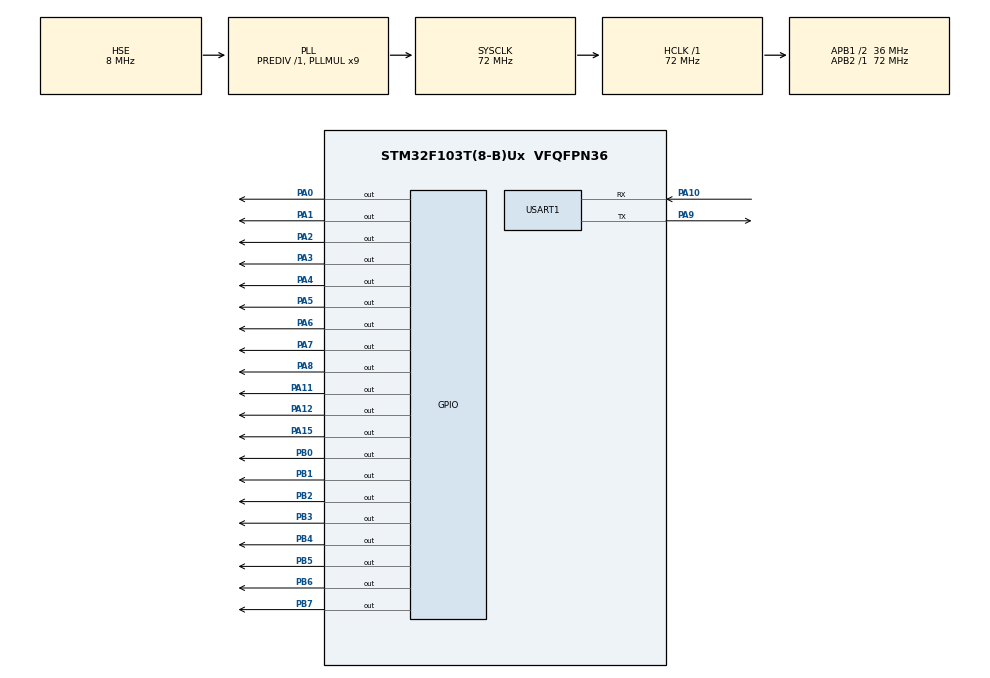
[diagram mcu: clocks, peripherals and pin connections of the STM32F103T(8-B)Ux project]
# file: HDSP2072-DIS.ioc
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Dma.Request0=USART1_RX
Dma.Request1=USART1_TX
Dma.USART1_RX.0.Direction=DMA_PERIPH_TO_MEMORY
Dma.USART1_RX.0.Instance=DMA1_Channel5
Dma.USART1_RX.0.MemDataAlignment=DMA_MDATAALIGN_BYTE
Dma.USART1_RX.0.MemInc=DMA_MINC_ENABLE
Dma.USART1_RX.0.Mode=DMA_NORMAL
Dma.USART1_RX.0.PeriphDataAlignment=DMA_PDATAALIGN_BYTE
Dma.USART1_RX.0.PeriphInc=DMA_PINC_DISABLE
Dma.USART1_RX.0.Priority=DMA_PRIORITY_LOW
Dma.USART1_TX.1.Direction=DMA_MEMORY_TO_PERIPH
Dma.USART1_TX.1.Instance=DMA1_Channel4
Dma.USART1_TX.1.MemDataAlignment=DMA_MDATAALIGN_BYTE
Dma.USART1_TX.1.MemInc=DMA_MINC_ENABLE
Dma.USART1_TX.1.Mode=DMA_NORMAL
Dma.USART1_TX.1.PeriphDataAlignment=DMA_PDATAALIGN_BYTE
Dma.USART1_TX.1.PeriphInc=DMA_PINC_DISABLE
Dma.USART1_TX.1.Priority=DMA_PRIORITY_LOW
Mcu.Family=STM32F1
Mcu.Name=STM32F103T(8-B)Ux
Mcu.Package=VFQFPN36
NVIC.DMA1_Channel4_IRQn=true\:0\:0\:false\:false\:true\:false\:true
NVIC.DMA1_Channel5_IRQn=true\:0\:0\:false\:false\:true\:false\:true
NVIC.PriorityGroup=NVIC_PRIORITYGROUP_4
NVIC.USART1_IRQn=true\:0\:0\:false\:false\:true\:true\:true
PA0-WKUP.GPIO_ModeDefaultOutputPP=GPIO_MODE_OUTPUT_PP
PA0-WKUP.GPIO_PuPd=GPIO_PULLUP
PA0-WKUP.GPIO_Speed=GPIO_SPEED_FREQ_MEDIUM
PA0-WKUP.PinState=GPIO_PIN_RESET
PA0-WKUP.Signal=GPIO_Output
PA1.GPIO_ModeDefaultOutputPP=GPIO_MODE_OUTPUT_PP
PA1.GPIO_PuPd=GPIO_PULLUP
PA1.GPIO_Speed=GPIO_SPEED_FREQ_MEDIUM
PA1.PinState=GPIO_PIN_RESET
PA1.Signal=GPIO_Output
PA10.Mode=Asynchronous
PA10.Signal=USART1_RX
PA11.GPIO_ModeDefaultOutputPP=GPIO_MODE_OUTPUT_PP
PA11.GPIO_PuPd=GPIO_PULLUP
PA11.GPIO_Speed=GPIO_SPEED_FREQ_MEDIUM
PA11.PinState=GPIO_PIN_RESET
PA11.Signal=GPIO_Output
PA12.GPIO_ModeDefaultOutputPP=GPIO_MODE_OUTPUT_PP
PA12.GPIO_PuPd=GPIO_PULLUP
PA12.GPIO_Speed=GPIO_SPEED_FREQ_MEDIUM
PA12.PinState=GPIO_PIN_RESET
PA12.Signal=GPIO_Output
PA13.Mode=Serial_Wire
PA13.Signal=SYS_JTMS-SWDIO
PA14.Mode=Serial_Wire
PA14.Signal=SYS_JTCK-SWCLK
PA15.GPIO_ModeDefaultOutputPP=GPIO_MODE_OUTPUT_PP
PA15.GPIO_PuPd=GPIO_PULLUP
PA15.GPIO_Speed=GPIO_SPEED_FREQ_MEDIUM
PA15.PinState=GPIO_PIN_RESET
PA15.Signal=GPIO_Output
PA2.GPIO_ModeDefaultOutputPP=GPIO_MODE_OUTPUT_PP
PA2.GPIO_PuPd=GPIO_PULLUP
PA2.GPIO_Speed=GPIO_SPEED_FREQ_MEDIUM
PA2.PinState=GPIO_PIN_RESET
PA2.Signal=GPIO_Output
PA3.GPIO_ModeDefaultOutputPP=GPIO_MODE_OUTPUT_PP
PA3.GPIO_PuPd=GPIO_PULLUP
PA3.GPIO_Speed=GPIO_SPEED_FREQ_MEDIUM
PA3.PinState=GPIO_PIN_RESET
PA3.Signal=GPIO_Output
PA4.GPIO_ModeDefaultOutputPP=GPIO_MODE_OUTPUT_PP
PA4.GPIO_PuPd=GPIO_PULLUP
PA4.GPIO_Speed=GPIO_SPEED_FREQ_MEDIUM
PA4.PinState=GPIO_PIN_RESET
PA4.Signal=GPIO_Output
PA5.GPIO_ModeDefaultOutputPP=GPIO_MODE_OUTPUT_PP
PA5.GPIO_PuPd=GPIO_PULLUP
PA5.GPIO_Speed=GPIO_SPEED_FREQ_MEDIUM
PA5.PinState=GPIO_PIN_RESET
PA5.Signal=GPIO_Output
PA6.GPIO_ModeDefaultOutputPP=GPIO_MODE_OUTPUT_PP
PA6.GPIO_PuPd=GPIO_PULLUP
PA6.GPIO_Speed=GPIO_SPEED_FREQ_MEDIUM
PA6.PinState=GPIO_PIN_RESET
PA6.Signal=GPIO_Output
PA7.GPIO_ModeDefaultOutputPP=GPIO_MODE_OUTPUT_PP
PA7.GPIO_PuPd=GPIO_PULLUP
PA7.GPIO_Speed=GPIO_SPEED_FREQ_MEDIUM
PA7.PinState=GPIO_PIN_RESET
PA7.Signal=GPIO_Output
PA8.GPIO_ModeDefaultOutputPP=GPIO_MODE_OUTPUT_PP
PA8.GPIO_PuPd=GPIO_PULLUP
PA8.GPIO_Speed=GPIO_SPEED_FREQ_MEDIUM
PA8.PinState=GPIO_PIN_RESET
PA8.Signal=GPIO_Output
PA9.Mode=Asynchronous
PA9.Signal=USART1_TX
PB0.GPIO_ModeDefaultOutputPP=GPIO_MODE_OUTPUT_PP
PB0.GPIO_PuPd=GPIO_PULLUP
PB0.GPIO_Speed=GPIO_SPEED_FREQ_MEDIUM
PB0.PinState=GPIO_PIN_RESET
PB0.Signal=GPIO_Output
PB1.GPIO_ModeDefaultOutputPP=GPIO_MODE_OUTPUT_PP
PB1.GPIO_PuPd=GPIO_PULLUP
PB1.GPIO_Speed=GPIO_SPEED_FREQ_MEDIUM
PB1.PinState=GPIO_PIN_RESET
PB1.Signal=GPIO_Output
PB2.GPIO_ModeDefaultOutputPP=GPIO_MODE_OUTPUT_PP
PB2.GPIO_PuPd=GPIO_PULLUP
PB2.GPIO_Speed=GPIO_SPEED_FREQ_MEDIUM
PB2.PinState=GPIO_PIN_RESET
PB2.Signal=GPIO_Output
PB3.GPIO_ModeDefaultOutputPP=GPIO_MODE_OUTPUT_PP
PB3.GPIO_PuPd=GPIO_PULLUP
PB3.GPIO_Speed=GPIO_SPEED_FREQ_MEDIUM
PB3.PinState=GPIO_PIN_RESET
PB3.Signal=GPIO_Output
PB4.GPIO_ModeDefaultOutputPP=GPIO_MODE_OUTPUT_PP
PB4.GPIO_PuPd=GPIO_PULLUP
PB4.GPIO_Speed=GPIO_SPEED_FREQ_MEDIUM
PB4.PinState=GPIO_PIN_RESET
PB4.Signal=GPIO_Output
PB5.GPIO_ModeDefaultOutputPP=GPIO_MODE_OUTPUT_PP
PB5.GPIO_PuPd=GPIO_PULLUP
PB5.GPIO_Speed=GPIO_SPEED_FREQ_MEDIUM
PB5.PinState=GPIO_PIN_RESET
PB5.Signal=GPIO_Output
PB6.GPIO_ModeDefaultOutputPP=GPIO_MODE_OUTPUT_PP
PB6.GPIO_PuPd=GPIO_PULLUP
PB6.GPIO_Speed=GPIO_SPEED_FREQ_MEDIUM
PB6.PinState=GPIO_PIN_RESET
PB6.Signal=GPIO_Output
PB7.GPIO_ModeDefaultOutputPP=GPIO_MODE_OUTPUT_PP
PB7.GPIO_PuPd=GPIO_PULLUP
PB7.GPIO_Speed=GPIO_SPEED_FREQ_MEDIUM
PB7.PinState=GPIO_PIN_RESET
PB7.Signal=GPIO_Output
PD0-OSC_IN.Mode=HSE-External-Oscillator
PD0-OSC_IN.Signal=RCC_OSC_IN
PD1-OSC_OUT.Mode=HSE-External-Oscillator
PD1-OSC_OUT.Signal=RCC_OSC_OUT
ProjectManager.HeapSize=0x200
ProjectManager.StackSize=0x400
ProjectManager.TargetToolchain=MDK-ARM V5
RCC.AHBFreq_Value=72000000
RCC.APB1CLKDivider=RCC_HCLK_DIV2
RCC.APB1Freq_Value=36000000
RCC.APB1TimFreq_Value=72000000
RCC.APB2Freq_Value=72000000
RCC.APB2TimFreq_Value=72000000
RCC.HCLKFreq_Value=72000000
RCC.PLLMUL=RCC_PLL_MUL9
RCC.PLLSourceVirtual=RCC_PLLSOURCE_HSE
RCC.SYSCLKFreq_VALUE=72000000
RCC.SYSCLKSource=RCC_SYSCLKSOURCE_PLLCLK
RCC.USBFreq_Value=72000000
USART1.VirtualMode=VM_ASYNC
board=custom

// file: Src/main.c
/* USER CODE BEGIN Header */
/**
  ******************************************************************************
  * @file           : main.c
  * @brief          : Main program body
  ******************************************************************************
  * @attention
  *
  * <h2><center>&copy; Copyright (c) 2020 STMicroelectronics.
  * All rights reserved.</center></h2>
  *
  * This software component is licensed by ST under BSD 3-Clause license,
  * the "License"; You may not use this file except in compliance with the
  * License. You may obtain a copy of the License at:
  *                        opensource.org/licenses/BSD-3-Clause
  *
  ******************************************************************************
  */
/* USER CODE END Header */

#include "main.h"
#include "dma.h"
#include "usart.h"
#include "gpio.h"

/* USER CODE BEGIN Includes */

#include "stdio.h"
/* USER CODE END Includes */

void SystemClock_Config(void);

/* USER CODE BEGIN 0 */

const unsigned char VFD_Fonts[][91*5]=
{
{0x00,0x00,0x00,0x00,0x00,/*" ",0*/

0x00,0x00,0x5F,0x00,0x00,/*"!",1*/

0x01,0x00,0x00,0x01,0x00,/*""",2*/

0x7C,0x17,0x14,0x7C,0x17,/*"#",3*/

0x22,0x45,0x7F,0x4B,0x32,/*"$",4*/

0x49,0x37,0x0C,0x72,0x49,/*"%",5*/

0x4F,0x59,0x67,0x78,0x48,/*"&",6*/

0x00,0x01,0x00,0x00,0x00,/*"'",7*/

0x00,0x00,0x3E,0x41,0x00,/*"(",8*/

0x00,0x61,0x1E,0x00,0x00,/*")",9*/

0x14,0x0C,0x3E,0x0C,0x14,/*"*",10*/

0x08,0x08,0x3E,0x08,0x08,/*"+",11*/

0x40,0x40,0x00,0x00,0x00,/*",",12*/

0x08,0x08,0x08,0x08,0x08,/*"-",13*/

0x40,0x40,0x00,0x00,0x00,/*".",14*/

0x40,0x30,0x08,0x06,0x01,/*"/",15*/

0x3E,0x51,0x49,0x45,0x3E,/*"0",16*/

0x00,0x00,0x02,0x7F,0x00,/*"1",17*/

0x42,0x61,0x51,0x49,0x46,/*"2",18*/

0x21,0x41,0x45,0x4B,0x31,/*"3",19*/

0x18,0x14,0x12,0x7F,0x10,/*"4",20*/

0x2F,0x45,0x45,0x45,0x39,/*"5",21*/

0x3E,0x49,0x49,0x49,0x32,/*"6",22*/

0x01,0x01,0x79,0x05,0x03,/*"7",23*/

0x36,0x49,0x49,0x49,0x36,/*"8",24*/

0x26,0x49,0x49,0x49,0x3E,/*"9",25*/

0x00,0x00,0x24,0x00,0x00,/*":",26*/

0x00,0x00,0x44,0x00,0x00,/*";",27*/

0x08,0x14,0x22,0x22,0x41,/*"<",28*/

0x14,0x14,0x14,0x14,0x14,/*"=",29*/

0x41,0x22,0x22,0x14,0x08,/*">",30*/

0x07,0x01,0x51,0x09,0x07,/*"?",31*/

0x3E,0x5D,0x63,0x5F,0x61,/*"@",32*/

0x60,0x1C,0x13,0x1C,0x60,/*"A",33*/

0x7F,0x49,0x49,0x49,0x76,/*"B",34*/

0x3f,0x41,0x41,0x41,0x22,/*"C",35*/

0x7F,0x41,0x41,0x41,0x3E,/*"D",36*/

0x7F,0x49,0x49,0x49,0x41,/*"E",37*/

0x7F,0x09,0x09,0x09,0x01,/*"F",38*/

0x3E,0x41,0x41,0x51,0x32,/*"G",39*/

0x7F,0x08,0x08,0x08,0x7F,/*"H",40*/

0x00,0x41,0x7F,0x41,0x00,/*"I",41*/

0x20,0x40,0x41,0x3F,0x01,/*"J",42*/

0x7F,0x08,0x0C,0x32,0x41,/*"K",43*/

0x7F,0x40,0x40,0x40,0x40,/*"L",44*/

0x7F,0x0C,0x30,0x0C,0x7F,/*"M",45*/

0x7F,0x02,0x0C,0x10,0x7F,/*"N",46*/

0x3E,0x41,0x41,0x41,0x3E,/*"O",47*/

0x7F,0x09,0x09,0x09,0x06,/*"P",48*/

0x3E,0x41,0x41,0x61,0x7E,/*"Q",49*/

0x7F,0x09,0x09,0x39,0x46,/*"R",50*/

0x46,0x49,0x49,0x49,0x31,/*"S",51*/

0x01,0x01,0x7F,0x01,0x01,/*"T",52*/

0x3F,0x40,0x40,0x40,0x3F,/*"U",53*/

0x03,0x1C,0x60,0x1C,0x03,/*"V",54*/

0x1F,0x60,0x1F,0x60,0x1F,/*"W",55*/

0x41,0x36,0x08,0x36,0x41,/*"X",56*/

0x03,0x04,0x78,0x04,0x03,/*"Y",57*/

0x61,0x51,0x49,0x45,0x43,/*"Z",58*/

0x00,0x00,0x7F,0x00,0x00,/*"[",59*/

0x01,0x06,0x08,0x30,0x40,/*"\",60*/

0x00,0x00,0x7F,0x00,0x00,/*"]",61*/

0x00,0x00,0x00,0x00,0x00,/*"^",62*/

0x08,0x08,0x08,0x08,0x08,/*"-",63*/

0x00,0x01,0x00,0x00,0x00,/*"'",64*/

0x68,0x54,0x54,0x54,0x78,/*"a",65*/

0x7F,0x48,0x44,0x44,0x38,/*"b",66*/

0x38,0x44,0x44,0x44,0x48,/*"c",67*/

0x38,0x44,0x44,0x44,0x7F,/*"d",68*/

0x38,0x54,0x54,0x54,0x18,/*"e",69*/

0x04,0x7E,0x45,0x05,0x05,/*"f",70*/

0x78,0x24,0x24,0x54,0x48,/*"g",71*/

0x7F,0x04,0x04,0x04,0x78,/*"h",72*/

0x04,0x44,0x7D,0x40,0x00,/*"i",73*/

0x00,0x00,0x04,0x05,0x79,/*"j",74*/

0x7F,0x10,0x10,0x2C,0x44,/*"k",75*/

0x00,0x41,0x7F,0x40,0x00,/*"l",76*/

0x78,0x04,0x7C,0x04,0x04,/*"m",77*/

0x7C,0x08,0x04,0x04,0x78,/*"n",78*/

0x38,0x44,0x44,0x44,0x38,/*"o",79*/

0x7C,0x44,0x44,0x44,0x38,/*"p",80*/

0x38,0x44,0x44,0x44,0x7C,/*"q",81*/

0x44,0x7C,0x08,0x04,0x04,/*"r",82*/

0x68,0x54,0x54,0x54,0x6C,/*"s",83*/

0x04,0x3C,0x44,0x44,0x40,/*"t",84*/

0x3C,0x40,0x40,0x44,0x7C,/*"u",85*/

0x0C,0x34,0x40,0x34,0x0C,/*"v",86*/

0x3C,0x60,0x1C,0x60,0x1C,/*"w",87*/

0x44,0x2C,0x10,0x2C,0x44,/*"x",88*/

0x04,0x1C,0x60,0x1C,0x04,/*"y",89*/

0x44,0x64,0x54,0x4C,0x44},/*"z",90*/
{
0x00,0x00,0x00,0x00,0x00,/*" ",0*/

0x00,0x00,0x5F,0x5F,0x00,/*"!",1*/

0x00,0x00,0x01,0x01,0x00,/*""",2*/

0x30,0x3E,0x7E,0x7E,0x10,/*"#",3*/

0x00,0x47,0x7F,0x79,0x00,/*"$",4*/

0x0F,0x3F,0x7F,0x72,0x70,/*"%",5*/

0x36,0x7F,0x7F,0x7A,0x40,/*"&",6*/

0x00,0x01,0x01,0x00,0x00,/*"'",7*/

0x00,0x00,0x7F,0x7F,0x00,/*"(",8*/

0x00,0x77,0x77,0x00,0x00,/*")",9*/

0x14,0x1C,0x1C,0x1C,0x14,/*"*",10*/

0x08,0x08,0x1C,0x1C,0x08,/*"+",11*/

0x00,0x40,0x40,0x00,0x00,/*",",12*/

0x00,0x08,0x08,0x08,0x00,/*"-",13*/

0x00,0x40,0x40,0x00,0x00,/*".",14*/

0x40,0x78,0x3E,0x07,0x01,/*"/",15*/

0x3E,0x7F,0x41,0x41,0x3E,/*"0",16*/

0x00,0x06,0x7F,0x7F,0x00,/*"1",17*/

0x62,0x73,0x79,0x6F,0x66,/*"2",18*/

0x21,0x61,0x4D,0x7F,0x33,/*"3",19*/

0x1C,0x12,0x7F,0x7F,0x10,/*"4",20*/

0x26,0x67,0x45,0x7D,0x38,/*"5",21*/

0x3E,0x7F,0x4D,0x7D,0x38,/*"6",22*/

0x01,0x71,0x7F,0x0F,0x03,/*"7",23*/

0x36,0x7F,0xc9,0x49,0x36,/*"8",24*/

0x0E,0x5B,0x79,0x7F,0x1E,/*"9",25*/

0x00,0x00,0x00,0x00,0x00,/*":",26*/

0x00,0x00,0x44,0x44,0x00,/*";",27*/

0x08,0x1C,0x36,0x22,0x00,/*"<",28*/

0x14,0x14,0x14,0x14,0x14,/*"=",29*/

0x00,0x22,0x36,0x1C,0x08,/*">",30*/

0x02,0x03,0x09,0x0F,0x06,/*"?",31*/

0x3E,0x7F,0x5F,0x7F,0x3E,/*"@",32*/

0x7E,0x7F,0x09,0x09,0x7E,/*"A",33*/

0x7F,0x7F,0x49,0x4F,0x70,/*"B",33*/

0x3E,0x7F,0x41,0x63,0x62,/*"C",35*/

0x7F,0x7F,0x41,0x41,0x3E,/*"D",36*/

0x7F,0x7F,0x49,0x49,0x41,/*"E",37*/

0x7F,0x7F,0x09,0x09,0x01,/*"F",38*/

0x3E,0x7F,0x41,0x53,0x32,/*"G",39*/

0x7F,0x7F,0x08,0x08,0x7F,/*"H",40*/

0x41,0x7F,0x7F,0x41,0x00,/*"I",40*/

0x61,0x41,0x7F,0x7F,0x01,/*"J",40*/

0x7F,0x7F,0x1C,0x36,0x63,/*"K",40*/

0x7F,0x7F,0x40,0x40,0x40,/*"L",44*/

0x7F,0x0F,0x3C,0x0F,0x7F,/*"M",45*/

0x7F,0x7F,0x04,0x08,0x7F,/*"N",45*/

0x3E,0x7F,0x41,0x41,0x3E,/*"O",45*/

0x7F,0x7F,0x09,0x0F,0x06,/*"P",48*/

0x3E,0x7F,0x41,0x61,0x7E,/*"Q",45*/

0x7F,0x7F,0x09,0x79,0x4E,/*"R",45*/

0x66,0x6F,0x49,0x79,0x32,/*"S",51*/

0x01,0x7F,0x7F,0x01,0x01,/*"T",52*/

0x3F,0x7F,0x40,0x40,0x3F,/*"U",53*/

0x7F,0x7F,0x30,0x0C,0x03,/*"V",45*/

0x3F,0x78,0x1E,0x78,0x3F,/*"W",45*/

0x71,0x19,0x7F,0x4C,0x47,/*"X",45*/

0x07,0x0F,0x78,0x0C,0x07,/*"Y",45*/

0x63,0x73,0x49,0x45,0x63,/*"Z",45*/

0x00,0x00,0x7F,0x7F,0x00,/*"[",59*/

0x00,0x0E,0x7E,0x70,0x00,/*"\",60*/

0x00,0x00,0x00,0x00,0x00,/*"]",61*/

0x00,0x00,0x00,0x00,0x00,/*"^",62*/

0x08,0x08,0x08,0x08,0x08,/*"-",63*/

0x00,0x01,0x01,0x00,0x00,/*"'",64*/

0x68,0x7C,0x7C,0x7C,0x40,/*"a",65*/

0x3F,0x7F,0x44,0x7C,0x38,/*"b",66*/

0x38,0x7C,0x44,0x44,0x00,/*"c",67*/

0x38,0x7C,0x44,0x7F,0x7F,/*"d",68*/

0x28,0x7C,0x54,0x5C,0x18,/*"e",69*/

0x04,0x7E,0x7F,0x05,0x01,/*"f",70*/

0x78,0x7C,0x7C,0x5C,0x04,/*"g",71*/

0x7F,0x7F,0x44,0x7C,0x78,/*"h",72*/

0x00,0x7C,0x7C,0x00,0x00,/*"i",73*/

0x00,0x00,0x7D,0x7D,0x00,/*"j",74*/

0x6F,0x7F,0x7C,0x6C,0x44,/*"k",75*/

0x00,0x7F,0x7F,0x00,0x00,/*"l",76*/

0x7C,0x7C,0x7C,0x78,0x78,/*"m",77*/

0x7C,0x7C,0x44,0x7C,0x78,/*"n",78*/

0x38,0x7C,0x44,0x7C,0x38,/*"o",79*/

0x3C,0x7C,0x44,0x7C,0x38,/*"p",80*/

0x38,0x7C,0x44,0x7C,0x38,/*"q",81*/

0x04,0x7C,0x7C,0x04,0x00,/*"r",82*/

0x00,0x7C,0x7C,0x54,0x00,/*"s",83*/

0x04,0x7C,0x7C,0x44,0x00,/*"t",84*/

0x3C,0x7C,0x44,0x7C,0x78,/*"u",85*/

0x04,0x3C,0x3C,0x1C,0x04,/*"v",86*/

0x1C,0x3C,0x7C,0x7C,0x14,/*"w",87*/

0x44,0x6C,0x7C,0x7C,0x04,/*"x",88*/

0x04,0x1C,0x7C,0x7C,0x04,/*"y",89*/

0x00,0x74,0x7C,0x4C,0x00,}/*"z",90*/
};

//graphic
unsigned char gram[][5] =
{
	//第1个数码管
	0x00,0x00,0x00,0x00,0x00,//第1个字符
	0x00,0x00,0x00,0x00,0x00,//第2个字符
	0x00,0x00,0x00,0x00,0x00,//第3个字符
	0x00,0x00,0x00,0x00,0x00,//第4个字符
	0x00,0x00,0x00,0x00,0x00,//第5个字符
	0x00,0x00,0x00,0x00,0x00,//第6个字符
	0x00,0x00,0x00,0x00,0x00,//第7个字符
	0x00,0x00,0x00,0x00,0x00,//第8个字符

	//第2个数码管
	0x00,0x00,0x00,0x00,0x00,//第1个字符
	0x00,0x00,0x00,0x00,0x00,//第2个字符
	0x00,0x00,0x00,0x00,0x00,//第3个字符
	0x00,0x00,0x00,0x00,0x00,//第4个字符
	0x00,0x00,0x00,0x00,0x00,//第5个字符
	0x00,0x00,0x00,0x00,0x00,//第6个字符
	0x00,0x00,0x00,0x00,0x00,//第7个字符
	0x00,0x00,0x00,0x00,0x00,//第8个字符
};
//target
unsigned char tram[][5] =
{
	//第1个数码管
	0x00,0x00,0x00,0x00,0x00,//第1个字符
	0x00,0x00,0x00,0x00,0x00,//第2个字符
	0x00,0x00,0x00,0x00,0x00,//第3个字符
	0x00,0x00,0x00,0x00,0x00,//第4个字符
	0x00,0x00,0x00,0x00,0x00,//第5个字符
	0x00,0x00,0x00,0x00,0x00,//第6个字符
	0x00,0x00,0x00,0x00,0x00,//第7个字符
	0x00,0x00,0x00,0x00,0x00,//第8个字符

	//第2个数码管
	0x00,0x00,0x00,0x00,0x00,//第1个字符
	0x00,0x00,0x00,0x00,0x00,//第2个字符
	0x00,0x00,0x00,0x00,0x00,//第3个字符
	0x00,0x00,0x00,0x00,0x00,//第4个字符
	0x00,0x00,0x00,0x00,0x00,//第5个字符
	0x00,0x00,0x00,0x00,0x00,//第6个字符
	0x00,0x00,0x00,0x00,0x00,//第7个字符
	0x00,0x00,0x00,0x00,0x00,//第8个字符
};
//before
unsigned char bram[][5] =
{
	//第1个数码管
	0x00,0x00,0x00,0x00,0x00,//第1个字符
	0x00,0x00,0x00,0x00,0x00,//第2个字符
	0x00,0x00,0x00,0x00,0x00,//第3个字符
	0x00,0x00,0x00,0x00,0x00,//第4个字符
	0x00,0x00,0x00,0x00,0x00,//第5个字符
	0x00,0x00,0x00,0x00,0x00,//第6个字符
	0x00,0x00,0x00,0x00,0x00,//第7个字符
	0x00,0x00,0x00,0x00,0x00,//第8个字符

	//第2个数码管
	0x00,0x00,0x00,0x00,0x00,//第1个字符
	0x00,0x00,0x00,0x00,0x00,//第2个字符
	0x00,0x00,0x00,0x00,0x00,//第3个字符
	0x00,0x00,0x00,0x00,0x00,//第4个字符
	0x00,0x00,0x00,0x00,0x00,//第5个字符
	0x00,0x00,0x00,0x00,0x00,//第6个字符
	0x00,0x00,0x00,0x00,0x00,//第7个字符
	0x00,0x00,0x00,0x00,0x00,//第8个字符
};

void ChoicePos(int index)
{
	HAL_GPIO_WritePin(GPIOA, GPIO_PIN_5, GPIO_PIN_RESET);
	HAL_GPIO_WritePin(GPIOA, GPIO_PIN_3, GPIO_PIN_RESET);
	HAL_GPIO_WritePin(GPIOA, GPIO_PIN_6, GPIO_PIN_RESET);
	HAL_GPIO_WritePin(GPIOA, GPIO_PIN_4, GPIO_PIN_RESET);
	HAL_GPIO_WritePin(GPIOA, GPIO_PIN_7, GPIO_PIN_RESET);
	switch(index)
	{
		case 0:HAL_GPIO_WritePin(GPIOA, GPIO_PIN_5, GPIO_PIN_SET);break;
		case 1:HAL_GPIO_WritePin(GPIOA, GPIO_PIN_3, GPIO_PIN_SET);break;
		case 2:HAL_GPIO_WritePin(GPIOA, GPIO_PIN_6, GPIO_PIN_SET);break;
		case 3:HAL_GPIO_WritePin(GPIOA, GPIO_PIN_4, GPIO_PIN_SET);break;
		case 4:HAL_GPIO_WritePin(GPIOA, GPIO_PIN_7, GPIO_PIN_SET);break;
	}
}

void ChoicePos_2(int index)
{
	HAL_GPIO_WritePin(GPIOB, GPIO_PIN_3, GPIO_PIN_RESET);
	HAL_GPIO_WritePin(GPIOB, GPIO_PIN_6, GPIO_PIN_RESET);
	HAL_GPIO_WritePin(GPIOB, GPIO_PIN_4, GPIO_PIN_RESET);
	HAL_GPIO_WritePin(GPIOB, GPIO_PIN_7, GPIO_PIN_RESET);
	HAL_GPIO_WritePin(GPIOB, GPIO_PIN_5, GPIO_PIN_RESET);
	switch(index)
	{
		case 0:HAL_GPIO_WritePin(GPIOB, GPIO_PIN_3, GPIO_PIN_SET);break;
		case 1:HAL_GPIO_WritePin(GPIOB, GPIO_PIN_6, GPIO_PIN_SET);break;
		case 2:HAL_GPIO_WritePin(GPIOB, GPIO_PIN_4, GPIO_PIN_SET);break;
		case 3:HAL_GPIO_WritePin(GPIOB, GPIO_PIN_7, GPIO_PIN_SET);break;
		case 4:HAL_GPIO_WritePin(GPIOB, GPIO_PIN_5, GPIO_PIN_SET);break;
	}
}

unsigned char checkdiff(unsigned char* array1,unsigned char* array2,int len)
{
	int i;
	for(i=0;i<len;i++)
	{
		if(array1[i]!=array2[i])
			return 0;
	}
	return 1;
}

void Animotion(char* ch,int motion,int font,int mode)
{
	int i,k,j;
	static int animotionstep[20]={0};

	for(k=0;k<5;k++)
		for(i=0;i<16;i++)
			tram[i][k] = VFD_Fonts[font][(ch[i]-' ')*5+k];
	for(k=0;k<16;k++)
	{
		if(checkdiff(gram[k],tram[k],4)==0)
		{
			switch(motion)
			{
				case 0:
				switch(animotionstep[k])
				{
					case 0:for(i=0;i<5;i++) bram[k][i] = gram[k][i];break;
					case 1:gram[k][2] &= ~0x8;break;
					case 2:gram[k][1] &= ~0x8;gram[k][2] &= ~0x1C;gram[k][3] &= ~0x8;break;
					case 3:gram[k][0] &= ~0x8;gram[k][1] &= ~0x1C;gram[k][2] &= ~0x3E;gram[k][3] &= ~0x1C;gram[k][4] &= ~0x8;break;
					case 4:gram[k][0] &= ~0x1C;gram[k][1] &= ~0x3E;gram[k][2] = tram[k][2]&0x8;gram[k][3] &= ~0x3E;gram[k][4] &= ~0x1C;break;
					case 5:gram[k][0] &= ~0x3E;gram[k][1] = tram[k][1]&0x8;gram[k][2] = tram[k][2]&0x1C;gram[k][3] = tram[k][3]&0x8;gram[k][4] &= ~0x3E;break;
					case 6:gram[k][0] = tram[k][0]&0x8;gram[k][1] = tram[k][1]&0x1C;gram[k][2] = tram[k][2]&0x3E;gram[k][3] = tram[k][3]&0x1C;gram[k][4] = tram[k][4]&0x8;break;
					case 7:gram[k][0] = tram[k][0]&0x1C;gram[k][1] = tram[k][1]&0x3E;gram[k][2] = tram[k][2];gram[k][3] = tram[k][3]&0x3E;gram[k][4] = tram[k][4]&0x1C;break;
					case 8:gram[k][0] = tram[k][0]&0x3E;gram[k][1] = tram[k][1];gram[k][2] = tram[k][2];gram[k][3] = tram[k][3];gram[k][4] = tram[k][4]&0x3E;break;
					case 9:for(i=0;i<5;i++) gram[k][i] = tram[k][i];animotionstep[k]=0;break;
					default:animotionstep[k]=0;break;
				}break;
				case 1:
				switch(animotionstep[k])
				{
					case 0:for(i=0;i<5;i++) bram[k][i] = gram[k][i];break;
					case 1:gram[k][4] &= ~0x40;break;
					case 2:gram[k][4] &= ~0x60;gram[k][3] &= ~0x40;break;
					case 3:gram[k][4] &= ~0x70;gram[k][3] &= ~0x60;gram[k][2] &= ~0x40;break;
					case 4:gram[k][4] &= ~0x78;gram[k][3] &= ~0x70;gram[k][2] &= ~0x60;gram[k][1] &= ~0x40;
					gram[k][4] |= tram[k][4]&0x40;break;
					case 5:gram[k][4] &= ~0x7C;gram[k][3] &= ~0x78;gram[k][2] &= ~0x70;gram[k][1] &= ~0x60;gram[k][0] &= ~0x40;
					gram[k][4] |= tram[k][4]&0x60;gram[k][3] |= tram[k][3]&0x40;break;
					case 6:gram[k][4] &= ~0x7E;gram[k][3] &= ~0x7C;gram[k][2] &= ~0x78;gram[k][1] &= ~0x70;gram[k][0] &= ~0x60;
					gram[k][4] |= tram[k][4]&0x70;gram[k][3] |= tram[k][3]&0x60;gram[k][2] |= tram[k][2]&0x40;break;
					case 7:gram[k][3] &= ~0x7E;gram[k][2] &= ~0x7C;gram[k][1] &= ~0x78;gram[k][0] &= ~0x70;
					gram[k][4] = tram[k][4]&0x78;gram[k][3] |= tram[k][3]&0x70;gram[k][2] |= tram[k][2]&0x60;gram[k][1] |= tram[k][1]&0x40;break;
					case 8:gram[k][2] &= ~0x7E;gram[k][1] &= ~0x7C;gram[k][0] &= ~0x78;
					gram[k][4] = tram[k][4]&0x7C;gram[k][3] = tram[k][3]&0x78;gram[k][2] |= tram[k][2]&0x70;gram[k][1] |= tram[k][1]&0x60;gram[k][0] |= tram[k][0]&0x40;break;
					case 9:gram[k][1] &= ~0x7E;gram[k][0] &= ~0x7C;
					gram[k][4] = tram[k][4]&0x7E;gram[k][3] = tram[k][3]&0x7C;gram[k][2] = tram[k][2]&0x78;gram[k][1] |= tram[k][1]&0x70;gram[k][0] |= tram[k][0]&0x60;break;
					case 10:gram[k][0] &= ~0x7E;
					gram[k][4] = tram[k][4];gram[k][3] = tram[k][3]&0x7E;gram[k][2] = tram[k][2]&0x7C;gram[k][1] = tram[k][1]&0x78;gram[k][0] |= tram[k][0]&0x70;break;
					case 11:
					gram[k][4] = tram[k][4];gram[k][3] = tram[k][3];gram[k][2] |= tram[k][2]&0x7E;gram[k][1] |= tram[k][1]&0x7C;gram[k][0] |= tram[k][0]&0x78;break;
					case 12:
					gram[k][4] = tram[k][4];gram[k][3] = tram[k][3];gram[k][2] = tram[k][2];gram[k][1] |= tram[k][1]&0x7E;gram[k][0] |= tram[k][0]&0x7C;break;
					case 13:
					gram[k][4] = tram[k][4];gram[k][3] = tram[k][3];gram[k][2] = tram[k][2];gram[k][1] = tram[k][1];gram[k][0] |= tram[k][0]&0x7E;break;
					case 14:
					gram[k][4] = tram[k][4];gram[k][3] = tram[k][3];gram[k][2] = tram[k][2];gram[k][1] = tram[k][1];gram[k][0] = tram[k][0];break;
					default:animotionstep[k]=0;break;
				}break;
				case 2:
				switch(animotionstep[k])
				{
					case 0:for(i=0;i<5;i++) bram[k][i] = gram[k][i];break;
					case 1:gram[k][0] &= ~0x40;break;
					case 2:gram[k][0] &= ~0x60;gram[k][1] &= ~0x40;break;
					case 3:gram[k][0] &= ~0x70;gram[k][1] &= ~0x60;gram[k][2] &= ~0x40;break;
					case 4:gram[k][0] &= ~0x78;gram[k][1] &= ~0x70;gram[k][2] &= ~0x60;gram[k][3] &= ~0x40;
					gram[k][0] |= tram[k][0]&0x40;break;
					case 5:gram[k][0] &= ~0x7C;gram[k][1] &= ~0x78;gram[k][2] &= ~0x70;gram[k][3] &= ~0x60;gram[k][4] &= ~0x40;
					gram[k][0] |= tram[k][0]&0x60;gram[k][1] |= tram[k][1]&0x40;break;
					case 6:gram[k][0] &= ~0x7E;gram[k][1] &= ~0x7C;gram[k][2] &= ~0x78;gram[k][3] &= ~0x70;gram[k][4] &= ~0x60;
					gram[k][0] |= tram[k][0]&0x70;gram[k][1] |= tram[k][1]&0x60;gram[k][2] |= tram[k][2]&0x40;break;
					case 7:gram[k][1] &= ~0x7E;gram[k][2] &= ~0x7C;gram[k][3] &= ~0x78;gram[k][4] &= ~0x70;
					gram[k][0] = tram[k][0]&0x78;gram[k][1] |= tram[k][1]&0x70;gram[k][2] |= tram[k][2]&0x60;gram[k][3] |= tram[k][3]&0x40;break;
					case 8:gram[k][2] &= ~0x7E;gram[k][3] &= ~0x7C;gram[k][4] &= ~0x78;
					gram[k][0] = tram[k][0]&0x7C;gram[k][1] = tram[k][1]&0x78;gram[k][2] |= tram[k][2]&0x70;gram[k][3] |= tram[k][3]&0x60;gram[k][4] |= tram[k][4]&0x40;break;
					case 9:gram[k][3] &= ~0x7E;gram[k][4] &= ~0x7C;
					gram[k][0] = tram[k][0]&0x7E;gram[k][1] = tram[k][1]&0x7C;gram[k][2] = tram[k][2]&0x78;gram[k][3] |= tram[k][3]&0x70;gram[k][4] |= tram[k][4]&0x60;break;
					case 10:gram[k][4] &= ~0x7E;
					gram[k][0] = tram[k][0];gram[k][1] = tram[k][1]&0x7E;gram[k][2] = tram[k][2]&0x7C;gram[k][3] = tram[k][3]&0x78;gram[k][4] |= tram[k][4]&0x70;break;
					case 11:
					gram[k][0] = tram[k][0];gram[k][1] = tram[k][1];gram[k][2] |= tram[k][2]&0x7E;gram[k][3] |= tram[k][3]&0x7C;gram[k][4] |= tram[k][4]&0x78;break;
					case 12:
					gram[k][0] = tram[k][0];gram[k][1] = tram[k][1];gram[k][2] = tram[k][2];gram[k][3] |= tram[k][3]&0x7E;gram[k][4] |= tram[k][4]&0x7C;break;
					case 13:
					gram[k][0] = tram[k][0];gram[k][1] = tram[k][1];gram[k][2] = tram[k][2];gram[k][3] = tram[k][3];gram[k][4] |= tram[k][4]&0x7E;break;
					case 14:
					gram[k][0] = tram[k][0];gram[k][1] = tram[k][1];gram[k][2] = tram[k][2];gram[k][3] = tram[k][3];gram[k][4] = tram[k][4];break;
					default:animotionstep[k]=0;break;
				}break;
				case 3://从上往下
				for(i=0;i<5;i++)
				{
					gram[k][i]<<=1;
					gram[k][i]|=(tram[k][i]>>(7-animotionstep[k]))&1;
				}break;
				case 4://从下往上
				for(i=0;i<5;i++)
				{
					gram[k][i]>>=1;
					gram[k][i]|=(tram[k][i]<<(7-animotionstep[k]))&0x80;
				}break;
				case 5://从右往左
				for(i=0;i<4;i++)
				{
					gram[k][i]=gram[k][i+1];
				}
				if(animotionstep[k]>0)
					gram[k][4]=tram[k][animotionstep[k]-1];
				else
					gram[k][4]=0;
				break;
				case 6://从左往右
				for(i=4;i>0;i--)
				{
					gram[k][i]=gram[k][i-1];
				}
				if(animotionstep[k]>0)
					gram[k][0]=tram[k][4-animotionstep[k]+1];
				else
					gram[k][0]=0;
				break;
				case 7://从上往下
				for(i=0;i<5;i++)
				{
					if(i<=animotionstep[k])
					{
						if(animotionstep[k]-i<=7)
						{
							gram[k][i]<<=1;
							gram[k][i]|=(tram[k][i]>>(7-(animotionstep[k]-i)))&1;
						}
					}
				}break;
				case 8://从下往上
				for(i=0;i<5;i++)
				{
					if(i<=animotionstep[k])
					{
						if(animotionstep[k]-i<=7)
						{
							gram[k][4-i]<<=1;
							gram[k][4-i]|=(tram[k][4-i]>>(7-(animotionstep[k]-i)))&1;
						}
					}
				}break;
			}
			animotionstep[k]++;
			if(mode)
				return;
		}
		else
		{
			for(i=0;i<5;i++) gram[k][i] = tram[k][i];animotionstep[k]=0;
		}
	}
}

void RefrashScren(void)
{
	int i,j,k;
	for(k=0;k<5;k++)
	{
		HAL_Delay(1);
		ChoicePos(k);
		ChoicePos_2(k);
		HAL_GPIO_WritePin(GPIOA, GPIO_PIN_11, GPIO_PIN_RESET);
		HAL_GPIO_WritePin(GPIOA, GPIO_PIN_0, GPIO_PIN_RESET);
		for(i=0;i<8;i++)
		{
			for(j=0;j<7;j++)
			{
				HAL_GPIO_WritePin(GPIOA, GPIO_PIN_12, GPIO_PIN_SET);
				HAL_GPIO_WritePin(GPIOB, GPIO_PIN_0, GPIO_PIN_SET);
				HAL_GPIO_WritePin(GPIOA, GPIO_PIN_8, (gram[6-i][k]>>(6-j))&1);
				HAL_GPIO_WritePin(GPIOA, GPIO_PIN_1, ((gram[i+7][4-k]<<(7-j))&0x80)>>7);
				HAL_GPIO_WritePin(GPIOA, GPIO_PIN_12, GPIO_PIN_RESET);
				HAL_GPIO_WritePin(GPIOB, GPIO_PIN_0, GPIO_PIN_RESET);
			}
		}
		HAL_GPIO_WritePin(GPIOA, GPIO_PIN_11, GPIO_PIN_SET);
		HAL_GPIO_WritePin(GPIOA, GPIO_PIN_0, GPIO_PIN_SET);
	}
}

/* USER CODE END 0 */

int main(void)
{
  /* USER CODE BEGIN 1 */
	int runcount=0;
	int i;
  /* USER CODE END 1 */

  /* MCU Configuration--------------------------------------------------------*/

  /* Reset of all peripherals, Initializes the Flash interface and the Systick. */
  HAL_Init();

  /* Configure the system clock */
  SystemClock_Config();

  /* Initialize all configured peripherals */
  MX_GPIO_Init();
  MX_DMA_Init();
  MX_USART1_UART_Init();
  /* USER CODE BEGIN 2 */

	__HAL_UART_ENABLE_IT(&huart1, UART_IT_IDLE);
  HAL_UART_Receive_DMA(&huart1,Uart_Recv1_Buf,Uart_Max_Length);
  /* USER CODE END 2 */

  /* Infinite loop */
  while (1)
  {

    /* USER CODE BEGIN 3 */
		if(dis_cmd.rand == 1)
		{
			runcount++;
			if(runcount%20==0)
				sprintf(dis_cmd.displaystr,"%07X%07X",rand(),rand());
			dis_cmd.fonttype=runcount/200%2;
			dis_cmd.motiontype=runcount/200%9;
		}
		Animotion(dis_cmd.displaystr,dis_cmd.motiontype,dis_cmd.fonttype,dis_cmd.single);

		for(i=0;i<dis_cmd.speed;i++)
		{
			RefrashScren();
		}
  }
  /* USER CODE END 3 */
}

void SystemClock_Config(void)
{
  RCC_OscInitTypeDef RCC_OscInitStruct = {0};
  RCC_ClkInitTypeDef RCC_ClkInitStruct = {0};

  /** Initializes the CPU, AHB and APB busses clocks
  */
  RCC_OscInitStruct.OscillatorType = RCC_OSCILLATORTYPE_HSE;
  RCC_OscInitStruct.HSEState = RCC_HSE_ON;
  RCC_OscInitStruct.HSEPredivValue = RCC_HSE_PREDIV_DIV1;
  RCC_OscInitStruct.HSIState = RCC_HSI_ON;
  RCC_OscInitStruct.PLL.PLLState = RCC_PLL_ON;
  RCC_OscInitStruct.PLL.PLLSource = RCC_PLLSOURCE_HSE;
  RCC_OscInitStruct.PLL.PLLMUL = RCC_PLL_MUL9;
  if (HAL_RCC_OscConfig(&RCC_OscInitStruct) != HAL_OK)
  {
    Error_Handler();
  }
  /** Initializes the CPU, AHB and APB busses clocks
  */
  RCC_ClkInitStruct.ClockType = RCC_CLOCKTYPE_HCLK|RCC_CLOCKTYPE_SYSCLK
                              |RCC_CLOCKTYPE_PCLK1|RCC_CLOCKTYPE_PCLK2;
  RCC_ClkInitStruct.SYSCLKSource = RCC_SYSCLKSOURCE_PLLCLK;
  RCC_ClkInitStruct.AHBCLKDivider = RCC_SYSCLK_DIV1;
  RCC_ClkInitStruct.APB1CLKDivider = RCC_HCLK_DIV2;
  RCC_ClkInitStruct.APB2CLKDivider = RCC_HCLK_DIV1;

  if (HAL_RCC_ClockConfig(&RCC_ClkInitStruct, FLASH_LATENCY_2) != HAL_OK)
  {
    Error_Handler();
  }
}

void Error_Handler(void)
{
}

/************************ (C) COPYRIGHT STMicroelectronics *****END OF FILE****/
